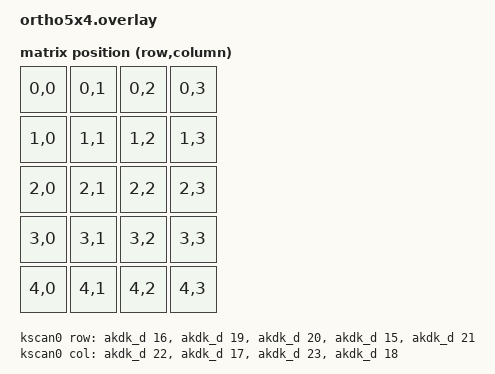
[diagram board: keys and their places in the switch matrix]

#include <dt-bindings/zmk/matrix_transform.h>
#include <input/processors.dtsi>
#include <dt-bindings/zmk/input_transform.h>
#include "layouts.dtsi"

/ {
    chosen {
        zmk,physical-layout = &physical_layout0;
    };

    default_transform: keymap_transform_0 {
        compatible = "zmk,matrix-transform";
        columns = <4>;
        rows = <5>;
        map = <
            RC(0,0) RC(0,1) RC(0,2) RC(0,3)
			RC(1,0) RC(1,1) RC(1,2) RC(1,3)
			RC(2,0) RC(2,1) RC(2,2) RC(2,3)
			RC(3,0) RC(3,1) RC(3,2) RC(3,3)
			RC(4,0) RC(4,1) RC(4,2) RC(4,3)
        >;
    };

    kscan0: kscan {
        compatible = "zmk,kscan-gpio-matrix";
        wakeup-source;

        diode-direction = "col2row";
        row-gpios
            = <&akdk_d 16 (GPIO_ACTIVE_HIGH | GPIO_PULL_DOWN)> // P0.02
			,<&akdk_d 19 (GPIO_ACTIVE_HIGH | GPIO_PULL_DOWN)> // P0.03
			,<&akdk_d 20 (GPIO_ACTIVE_HIGH | GPIO_PULL_DOWN)> // P0.28
			,<&akdk_d 15 (GPIO_ACTIVE_HIGH | GPIO_PULL_DOWN)> // P0.29
			,<&akdk_d 21 (GPIO_ACTIVE_HIGH | GPIO_PULL_DOWN)> // P0.04
            ;
        col-gpios
            = <&akdk_d 22 GPIO_ACTIVE_HIGH> // P0.05
			,<&akdk_d 17 GPIO_ACTIVE_HIGH> // P1.15
			,<&akdk_d 23 GPIO_ACTIVE_HIGH> // P1.14
			,<&akdk_d 18 GPIO_ACTIVE_HIGH> // P1.13
            ;
    };

};

&physical_layout0 {
    kscan = <&kscan0>;
    transform = <&default_transform>;
};

